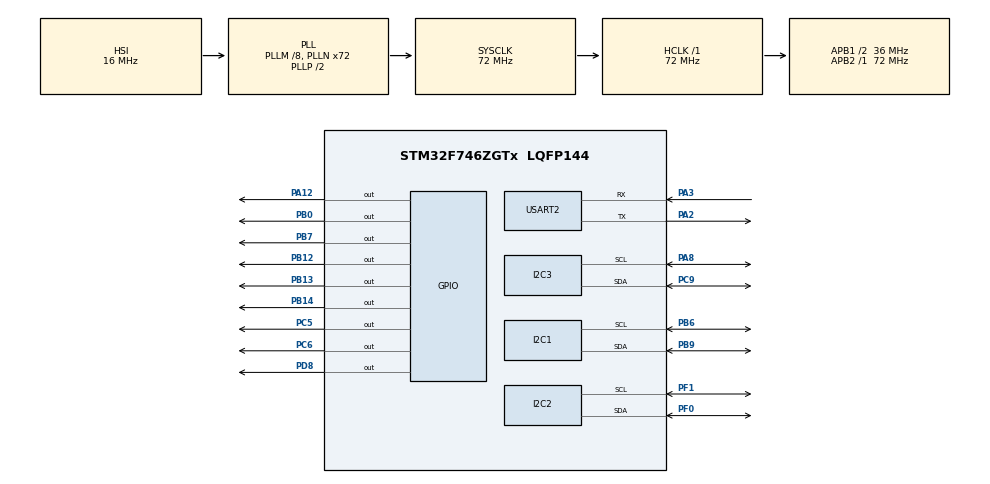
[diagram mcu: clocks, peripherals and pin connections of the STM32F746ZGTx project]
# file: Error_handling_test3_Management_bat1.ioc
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I2C1.Timing=0x00808CD2
I2C2.Timing=0x00808CD2
I2C3.Timing=0x00808CD2
Mcu.Family=STM32F7
Mcu.Name=STM32F746ZGTx
Mcu.Package=LQFP144
NVIC.I2C1_EV_IRQn=true\:2\:0\:true\:false\:true\:true\:true
NVIC.I2C2_EV_IRQn=true\:2\:0\:true\:false\:true\:true\:true
NVIC.I2C3_EV_IRQn=true\:2\:0\:true\:false\:true\:true\:true
NVIC.PriorityGroup=NVIC_PRIORITYGROUP_4
NVIC.TIM2_IRQn=true\:2\:0\:true\:false\:true\:true\:true
NVIC.TIM3_IRQn=true\:1\:0\:true\:false\:true\:true\:true
NVIC.USART2_IRQn=true\:0\:0\:false\:false\:true\:true\:true
PA12.Signal=GPIO_Output
PA13.Mode=Serial_Wire
PA13.Signal=SYS_JTMS-SWDIO
PA14.Mode=Serial_Wire
PA14.Signal=SYS_JTCK-SWCLK
PA2.Mode=Asynchronous
PA2.Signal=USART2_TX
PA3.Mode=Asynchronous
PA3.Signal=USART2_RX
PA8.Mode=I2C
PA8.Signal=I2C3_SCL
PB0.Signal=GPIO_Output
PB12.Signal=GPIO_Output
PB13.Signal=GPIO_Output
PB14.Signal=GPIO_Output
PB6.GPIO_Pu=GPIO_PULLUP
PB6.Mode=I2C
PB6.Signal=I2C1_SCL
PB7.Signal=GPIO_Output
PB9.GPIO_Pu=GPIO_PULLUP
PB9.Mode=I2C
PB9.Signal=I2C1_SDA
PC5.Signal=GPIO_Output
PC6.Signal=GPIO_Output
PC9.Mode=I2C
PC9.Signal=I2C3_SDA
PD8.Signal=GPIO_Output
PF0.Mode=I2C
PF0.Signal=I2C2_SDA
PF1.Mode=I2C
PF1.Signal=I2C2_SCL
ProjectManager.HeapSize=0x200
ProjectManager.StackSize=0x400
ProjectManager.TargetToolchain=STM32CubeIDE
RCC.48MHZClocksFreq_Value=24000000
RCC.AHBFreq_Value=72000000
RCC.APB1CLKDivider=RCC_HCLK_DIV2
RCC.APB1Freq_Value=36000000
RCC.APB1TimFreq_Value=72000000
RCC.APB2Freq_Value=72000000
RCC.APB2TimFreq_Value=72000000
RCC.CortexFreq_Value=72000000
RCC.HCLKFreq_Value=72000000
RCC.HSE_VALUE=8000000
RCC.HSI_VALUE=16000000
RCC.LSE_VALUE=32768
RCC.PLLM=8
RCC.PLLMUL=RCC_PLL_MUL9
RCC.PLLN=72
RCC.PLLQ=3
RCC.PRESCALERUSB=RCC_USBCLKSOURCE_PLL_DIV1_5
RCC.SYSCLKFreq_VALUE=72000000
RCC.SYSCLKSource=RCC_SYSCLKSOURCE_PLLCLK
RCC.SYSCLKSourceVirtual=RCC_SYSCLKSOURCE_PLLCLK
RCC.USBFreq_Value=48000000
RCC.VCOOutputFreq_Value=144000000
TIM2.Period=1000-1
TIM2.Prescaler=7200-1
TIM3.Period=100-1
TIM3.Prescaler=7200-1
TIM4.Prescaler=72-1
USART2.VirtualMode-Asynchronous=VM_ASYNC
VP_TIM2_VS_ClockSourceINT.Mode=Internal
VP_TIM3_VS_ClockSourceINT.Mode=Internal
VP_TIM4_VS_ClockSourceINT.Mode=Internal
board=NUCLEO-F746ZG

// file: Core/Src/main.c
/* USER CODE BEGIN Header */
/**
 ******************************************************************************
 * @file           : main.c
 * @brief          : Main program body
 ******************************************************************************
 * @attention
 *
 * <h2><center>&copy; Copyright (c) 2021 STMicroelectronics.
 * All rights reserved.</center></h2>
 *
 * This software component is licensed by ST under BSD 3-Clause license,
 * the "License"; You may not use this file except in compliance with the
 * License. You may obtain a copy of the License at:
 *                        opensource.org/licenses/BSD-3-Clause
 *
 ******************************************************************************
 */
/* USER CODE END Header */
#include "main.h"

/* USER CODE BEGIN Includes */
#include "stdbool.h"
#include "stdio.h"
#include "timer_delay.h"
#include "bat1_asoc.h"
#include "Handle_Gpio_pins.h"
#include "Timer_function.h"
#include"Specific_parameters_main_BAT1.h"
#include "Battery1_Maintenance_General_Info.h"
#include "Battery1_Maintenance_Specific_Info.h"
#include "Bat1_Update_Info_during_Maintenance.h"
#include <string.h>
#include "Bat1_Maint_SPCI_RTE.h"
#include "SubStatemachine_bat1_Maintenance.h"
#include "Commands_from_Raspi_To_STM32.h"
#include <Results_Auto_Test_Bat1_Maintenance.h>

#include "bat2_asoc.h"
#include "Battery2_Maintenance_General_Info.h"
#include"Specific_parameters_main_BAT2.h"
#include <Results_Auto_Test_Bat2_Maintenance.h>
#include "Bat2_Update_Info_during_Maintenance.h"
#include "SubStatemachine_bat2_Maintenance.h"

#include "bat3_asoc.h"
#include "Battery3_Maintenance_General_Info.h"
#include"Specific_parameters_main_BAT3.h"
#include <Results_Auto_Test_Bat3_Maintenance.h>
#include "Bat3_Update_Info_during_Maintenance.h"
#include "SubStatemachine_bat3_Maintenance.h"

#include "Battery1_Management_General_Info.h"
#include "Specific_parameters_management_BAT1.h"
#include "Bat1_Management_Keep_Bat_Alive_cycle.h"
#include "Battery1_Management_Shipment_cyc_Test_Cycle.h"
#include "Battery1_Management_Shipment_cyc_Discharge_to_30_percent.h"
#include "Specific_parameters_management_BAT1_ShipmentTest.h"
#include "Results_Auto_Test_Bat1_Management_Shipment_Test_Cycle.h"
#include "Bat1_Update_Info_during_Management.h"
#include "SubStatemachine_bat1_Management.h"

#include "Battery2_Management_General_Info.h"
#include "Specific_parameters_management_BAT2_ShipmentTest.h"
#include "Specific_parameters_management_BAT2.h"
#include "Results_Auto_Test_Bat2_Management_Shipment_Test_Cycle.h"
#include "Bat2_Update_Info_during_Management.h"
#include "Bat2_Management_Keep_Bat_Alive_cycle.h"
#include "Battery2_Management_Shipment_cyc_Discharge_to_30_percent.h"
#include "Battery2_Management_Shipment_cyc_Test_Cycle.h"
#include "SubStatemachine_bat2_Management.h"

#include "Battery3_Management_General_Info.h"
#include "Specific_parameters_management_BAT3.h"
#include "Specific_parameters_management_BAT3_ShipmentTest.h"
#include "Results_Auto_Test_Bat3_Management_Shipment_Test_Cycle.h"
#include "Bat3_Update_Info_during_Management.h"
#include "Bat3_Management_Keep_Bat_Alive_cycle.h"
#include "SubStatemachine_bat3_Management.h"
#include "Battery3_Management_Shipment_cyc_Test_Cycle.h"
#include "Battery3_Management_Shipment_cyc_Discharge_to_30_percent.h"

/* USER CODE END Includes */

I2C_HandleTypeDef hi2c1;
I2C_HandleTypeDef hi2c2;
I2C_HandleTypeDef hi2c3;

TIM_HandleTypeDef htim2;
TIM_HandleTypeDef htim3;
TIM_HandleTypeDef htim4;

UART_HandleTypeDef huart2;

/* USER CODE BEGIN PV */

/////////////////////// Maintenance cycle BAT 1 definitions////////////////////////////////////////////

bool _bat1timerfunc = false;		     // Flag to start and stop the 15 min wait function
bool _bat1_15min_wait_over = false;  		// To indicate 15 min delay is over
uint16_t _bat1_counter_var = 0;				//   Variable as a counter
//int8_t bat1_state=0;  						// Indicates the current state in Maintenance cycle
uint8_t BAT1_MAINT_STATE=0;

uint16_t BAT_1_ASOC_MAINTENANCE;
uint16_t BAT1_VOLTAGE_MAINTENANCE;

bool bat1charge = false;				// Flag to start and stop charging of the battery
bool bat1discharge = false;				// Flag to start and stop discharging of the battery

bool state1guard = false;
bool state2guard = false;
bool state3guard = false;
bool state4guard = false;
bool state5guard = false;
bool state6guard = false;
bool state7guard = false;
bool state8guard = false;

bool Autotestflag = false;				// Flag to start automatic testing of the maintenance cycle

uint8_t rx_buffer[14];					// Receives command from Pi

bool BAT_1_MAINTENANCE_FLAG = false;  				// Flag for battery 1 to enter the maintenance process
bool BAT_1_MAINTENANCE_ENTERED_GUARD_FLAG = false;

bool BAT_1_MAINT_GENERAL_INFO_FLAG = false;
bool BAT_1_MAINT_GENERAL_INFO_GUARD_FLAG = false;    // Flag to display General Info only once

bool Bat_1_MAINT_SPECIFIC_PARA_GUARD_FLAG = false;   // Flag to compare specific Info only once

uint8_t Bat1_Current_Mode_in_Maint = 0;      // 0 - Bat 1 is in running mode
// 1 - Bat 1 is in pause mode
// 2- Bat1 is in stop mode

// Flags to update the general information of battery 1 in Maintenance Use Case

uint16_t bat1_geninfo_cycle_counter = 0;
uint16_t bat1_geninfo_asoc_counter = 0;
uint16_t bat1_geninfo_remainingcapacity_counter = 0;
uint16_t bat1_geninfo_voltage_counter = 0;
uint16_t bat1_geninfo_temperature_counter = 0;
uint16_t bat1_geninfo_batterystatus_counter = 0;
uint16_t bat1_geninfo_current_counter=0;

bool bat1_geninfo_cycle_flag = false;
bool bat1_geninfo_asoc_flag = false;
bool bat1_geninfo_remainingcapacity_flag = false;
bool bat1_geninfo_voltage_flag = false;
bool bat1_geninfo_temperature_flag = false;
bool bat1_geninfo_batterystatus_flag = false;
bool bat1_geninfo_current_flag=false;

bool bat1_specific_info_rte_flag=true;

bool connect_flag=true;
bool update_maintenance_info_flag=false;

uint8_t tx_init[14];

// Flags to update the general information of battery in Maintenance Use Case

////////////////////////////////// Maintenance cycle BAT 1 definitions - End//////////////////////////////////////

/////////////////////// Maintenance cycle BAT 2 definitions - Start////////////////////////////////////////////

bool _bat2timerfunc = false;		     // Flag to start and stop the 15 min wait function
bool _bat2_15min_wait_over = false;  		// To indicate 15 min delay is over
uint16_t _bat2_counter_var = 0;				//   Variable as a counter
//int8_t bat2_state=0;  						// Indicates the current state in Maintenance cycle
//int8_t *BAT2_MAINT_STATE;
uint8_t BAT2_MAINT_STATE=0;

uint16_t BAT_2_ASOC_MAINTENANCE;
uint16_t BAT2_VOLTAGE_MAINTENANCE;

bool bat2charge = false;				// Flag to start and stop charging of the battery
bool bat2discharge = false;				// Flag to start and stop discharging of the battery

bool bat2_maint_state1guard = false;
bool bat2_maint_state2guard = false;
bool bat2_maint_state3guard = false;
bool bat2_maint_state4guard = false;
bool bat2_maint_state5guard = false;
bool bat2_maint_state6guard = false;
bool bat2_maint_state7guard = false;
bool bat2_maint_state8guard = false;

bool Bat2_Maint_Autotestflag = false;

bool BAT_2_MAINTENANCE_FLAG = false;  				// Flag for battery 1 to enter the maintenance process
bool BAT_2_MAINTENANCE_ENTERED_GUARD_FLAG = false;

bool BAT_2_MAINT_GENERAL_INFO_FLAG = false;
bool BAT_2_MAINT_GENERAL_INFO_GUARD_FLAG = false;    // Flag to display General Info only once

bool Bat_2_MAINT_SPECIFIC_PARA_GUARD_FLAG = false;   // Flag to compare specific Info only once

uint16_t bat2_geninfo_cycle_counter = 0;
uint16_t bat2_geninfo_asoc_counter = 0;
uint16_t bat2_geninfo_remainingcapacity_counter = 0;
uint16_t bat2_geninfo_voltage_counter = 0;
uint16_t bat2_geninfo_temperature_counter = 0;
uint16_t bat2_geninfo_batterystatus_counter = 0;
uint16_t bat2_geninfo_current_counter=0;

bool bat2_geninfo_cycle_flag = false;
bool bat2_geninfo_asoc_flag = false;
bool bat2_geninfo_remainingcapacity_flag = false;
bool bat2_geninfo_voltage_flag = false;
bool bat2_geninfo_temperature_flag = false;
bool bat2_geninfo_batterystatus_flag = false;
bool bat2_geninfo_current_flag=false;

bool bat2_specific_info_rte_flag=true;

bool bat2_update_maintenance_info_flag=false;

/////////////////////// Maintenance cycle BAT 2 definitions - END////////////////////////////////////////////

/////////////////////// Maintenance cycle BAT 3 definitions - Start////////////////////////////////////////////

bool _bat3timerfunc = false;		     // Flag to start and stop the 15 min wait function
bool _bat3_15min_wait_over = false;  		// To indicate 15 min delay is over
uint16_t _bat3_counter_var = 0;				//   Variable as a counter
//int8_t bat3_state=0;  						// Indicates the current state in Maintenance cycle
//int8_t *BAT3_MAINT_STATE;
uint8_t BAT3_MAINT_STATE=0;

uint16_t BAT_3_ASOC_MAINTENANCE;
uint16_t BAT3_VOLTAGE_MAINTENANCE;

bool bat3charge = false;				// Flag to start and stop charging of the battery
bool bat3discharge = false;				// Flag to start and stop discharging of the battery

bool bat3_maint_state1guard = false;
bool bat3_maint_state2guard = false;
bool bat3_maint_state3guard = false;
bool bat3_maint_state4guard = false;
bool bat3_maint_state5guard = false;
bool bat3_maint_state6guard = false;
bool bat3_maint_state7guard = false;
bool bat3_maint_state8guard = false;

bool Bat3_Maint_Autotestflag = false;

bool BAT_3_MAINTENANCE_FLAG = false;  				// Flag for battery 3 to enter the maintenance process
bool BAT_3_MAINTENANCE_ENTERED_GUARD_FLAG = false;

bool BAT_3_MAINT_GENERAL_INFO_FLAG = false;
bool BAT_3_MAINT_GENERAL_INFO_GUARD_FLAG = false;    // Flag to display General Info only once

bool Bat_3_MAINT_SPECIFIC_PARA_GUARD_FLAG = false;   // Flag to compare specific Info only once

uint16_t bat3_geninfo_cycle_counter = 0;
uint16_t bat3_geninfo_asoc_counter = 0;
uint16_t bat3_geninfo_remainingcapacity_counter = 0;
uint16_t bat3_geninfo_voltage_counter = 0;
uint16_t bat3_geninfo_temperature_counter = 0;
uint16_t bat3_geninfo_batterystatus_counter = 0;
uint16_t bat3_geninfo_current_counter=0;

bool bat3_geninfo_cycle_flag = false;
bool bat3_geninfo_asoc_flag = false;
bool bat3_geninfo_remainingcapacity_flag = false;
bool bat3_geninfo_voltage_flag = false;
bool bat3_geninfo_temperature_flag = false;
bool bat3_geninfo_batterystatus_flag = false;
bool bat3_geninfo_current_flag=false;

bool bat3_specific_info_rte_flag=true;

bool bat3_update_maintenance_info_flag=false;

bool say=true;

/////////////////////// Maintenance cycle BAT 3 definitions - End////////////////////////////////////////////

/////////////////////// Management cycle BAT 1 definitions - Start////////////////////////////////////////////

bool BAT_1_MANAGEMENT_FLAG = false;  // Flag to enter Bat 1 in Management Use Case

bool BAT_1_MANAGEMENT_ENTERED_GUARD_FLAG = false; // Flag to send instruction only once to Pi that Bat 1
												  // has entered Management Use Case

bool BAT_1_MANAGEMENT_GENERAL_INFO_FLAG = false; // Flag to display Bat 1 Management use case general Info

bool BAT_1_MANAGEMENT_GENERAL_INFO_GUARD_FLAG = false;    // Flag to display General Info only once - Management use case

bool Bat_1_MANAGEMENT_SPECIFIC_PARA_GUARD_FLAG = false;   // Flag to compare specific Info only once - Management use case

bool BAT_1_MANAGEMENT_KEEP_BATTERY_ALIVE_CYCLE_FLAG = false; // Flag to start Keep Battery Alive cycle - Management use case

bool BAT_1_MANAGEMENT_KEEP_BATTERY_ALIVE_CYCLE_GUARD_FLAG = false; // Flag to Enable Charge/ Discharge of Battery in Keep Battery Alive cycle once

uint16_t BAT_1_ASOC_MANAGEMENT_during_Keep_Bat_Alive_cycle; // Read ASOC during "Keep Battery Alive" cycle - Management Use Case

// Bat 1 Management use case variables during shipment test cycle
uint16_t BAT_1_ASOC_MANAGEMENT_during_Shipment_Test_Cycle;  // Read ASOC during shipment autotest cycle - Management Use Case

bool BAT1_MANAGEMENT_SHIPMENT_CYCLE_FLAG = false; // Flag to enter the shipment cycle - Management Use case Bat 1

bool Bat1_Management_Shipment_testycycle_Autotestflag = false; // Flag to start Bat1 shipment test cycle - Management Use Case

bool Bat1_Management_Shipment_chg_dischg_to_30_percent_flag = false; // Flag to start Bat 1 Charge/Discharge to 30 % cycle - Shipment - Management Use Case

bool Bat1_Management_Shipment_chg_dischg_to_30_percent_guard_flag = false; // Flag to Toggle the Charge / Discharge pin only once during 30 % cycle in Shipment - Management Use Case

bool Bat1_Manag_SpecificPara_during_Shipment_test_cycle_guard_flag = false;

uint8_t BAT1_MANAGEMENT_SHIPMENT_TEST_CYCLE_STATE=0; // Bat 1 state during Shipment Test cycle - Management Use Case

uint16_t BAT_1_ASOC_MANAGEMENT_during__SHIPMENT_TEST_CHARGE_DISCHARGE_30; // Read Bat 1 ASOC during Management use case - Shipment charge/ discharge to 30 % cycle

bool bat1_management_shipment_testcycle_state1guard = false;
bool bat1_management_shipment_testcycle_state2guard = false;
bool bat1_management_shipment_testcycle_state3guard = false;
bool bat1_management_shipment_testcycle_state4guard = false;
bool bat1_management_shipment_testcycle_state5guard = false;
bool bat1_management_shipment_testcycle_state6guard = false;
bool bat1_management_shipment_testcycle_state7guard = false;
bool bat1_management_shipment_testcycle_state8guard = false;

/////////////////////// Management cycle BAT 1 definitions - End////////////////////////////////////////////

/////////////////////// Management cycle BAT 2 definitions - Start////////////////////////////////////////////

bool BAT_2_MANAGEMENT_FLAG = false;  // Flag to enter Bat 2 in Management Use Case

bool BAT_2_MANAGEMENT_ENTERED_GUARD_FLAG = false; // Flag to send instruction only once to Pi that Bat 2
												  // has entered Management Use Case

bool BAT_2_MANAGEMENT_GENERAL_INFO_FLAG = false; // Flag to display Bat 2 Management use case general Info

bool BAT_2_MANAGEMENT_GENERAL_INFO_GUARD_FLAG = false;    // Flag to display General Info only once - Management use case

bool Bat_2_MANAGEMENT_SPECIFIC_PARA_GUARD_FLAG = false;   // Flag to compare specific Info only once - Management use case

bool BAT_2_MANAGEMENT_KEEP_BATTERY_ALIVE_CYCLE_FLAG = false; // Flag to start Keep Battery Alive cycle - Management use case

bool BAT_2_MANAGEMENT_KEEP_BATTERY_ALIVE_CYCLE_GUARD_FLAG = false; // Flag to Enable Charge/ Discharge of Battery in Keep Battery Alive cycle once

uint16_t BAT_2_ASOC_MANAGEMENT_during_Keep_Bat_Alive_cycle; // Read ASOC during "Keep Battery Alive" cycle - Management Use Case

// Bat 2 Management use case variables during shipment test cycle
uint16_t BAT_2_ASOC_MANAGEMENT_during_Shipment_Test_Cycle;  // Read Bat 2 ASOC during shipment autotest cycle - Management Use Case

bool BAT2_MANAGEMENT_SHIPMENT_CYCLE_FLAG = false; // Flag to enter the shipment cycle - Management Use case Bat 2

bool Bat2_Management_Shipment_testycycle_Autotestflag = false; // Flag to start Bat2 shipment test cycle - Management Use Case

bool Bat2_Management_Shipment_chg_dischg_to_30_percent_flag = false; // Flag to start Bat 2 Charge/Discharge to 30 % cycle - Shipment - Management Use Case

bool Bat2_Management_Shipment_chg_dischg_to_30_percent_guard_flag = false; // Flag to Toggle the Charge / Discharge pin only once during 30 % cycle in Shipment - Management Use Case

bool Bat2_Manag_SpecificPara_during_Shipment_test_cycle_guard_flag = false;

uint8_t BAT2_MANAGEMENT_SHIPMENT_TEST_CYCLE_STATE=0; // Bat 2 state during Shipment Test cycle - Management Use Case

uint16_t BAT_2_ASOC_MANAGEMENT_during__SHIPMENT_TEST_CHARGE_DISCHARGE_30; // Read Bat 2 ASOC during Management use case - Shipment charge/ discharge to 30 % cycle

bool bat2_management_shipment_testcycle_state1guard = false;
bool bat2_management_shipment_testcycle_state2guard = false;
bool bat2_management_shipment_testcycle_state3guard = false;
bool bat2_management_shipment_testcycle_state4guard = false;
bool bat2_management_shipment_testcycle_state5guard = false;
bool bat2_management_shipment_testcycle_state6guard = false;
bool bat2_management_shipment_testcycle_state7guard = false;
bool bat2_management_shipment_testcycle_state8guard = false;

/////////////////////// Management cycle BAT 2 definitions - End////////////////////////////////////////////

/////////////////////// Management cycle BAT 3 definitions - Start////////////////////////////////////////////

bool BAT_3_MANAGEMENT_FLAG = false;  // Flag to enter Bat 3 in Management Use Case

bool BAT_3_MANAGEMENT_ENTERED_GUARD_FLAG = false; // Flag to send instruction only once to Pi that Bat 3
												  // has entered Management Use Case

bool BAT_3_MANAGEMENT_GENERAL_INFO_FLAG = false; // Flag to display Bat 3 Management use case general Info

bool BAT_3_MANAGEMENT_GENERAL_INFO_GUARD_FLAG = false;    // Flag to display General Info only once - Management use case

bool Bat_3_MANAGEMENT_SPECIFIC_PARA_GUARD_FLAG = false;   // Flag to compare specific Info only once - Management use case

bool BAT_3_MANAGEMENT_KEEP_BATTERY_ALIVE_CYCLE_FLAG = false; // Flag to start Keep Battery Alive cycle - Management use case

bool BAT_3_MANAGEMENT_KEEP_BATTERY_ALIVE_CYCLE_GUARD_FLAG = false; // Flag to Enable Charge/ Discharge of Battery in Keep Battery Alive cycle once

uint16_t BAT_3_ASOC_MANAGEMENT_during_Keep_Bat_Alive_cycle; // Read ASOC during "Keep Battery Alive" cycle - Management Use Case

// Bat 3 Management use case variables during shipment test cycle
uint16_t BAT_3_ASOC_MANAGEMENT_during_Shipment_Test_Cycle;  // Read Bat 3 ASOC during shipment autotest cycle - Management Use Case

bool BAT3_MANAGEMENT_SHIPMENT_CYCLE_FLAG = false; // Flag to enter the shipment cycle - Management Use case Bat 2

bool Bat3_Management_Shipment_testycycle_Autotestflag = false; // Flag to start Bat3 shipment test cycle - Management Use Case

bool Bat3_Management_Shipment_chg_dischg_to_30_percent_flag = false; // Flag to start Bat 3 Charge/Discharge to 30 % cycle - Shipment - Management Use Case

bool Bat3_Management_Shipment_chg_dischg_to_30_percent_guard_flag = false; // Flag to Toggle the Charge / Discharge pin only once during 30 % cycle in Shipment - Management Use Case

bool Bat3_Manag_SpecificPara_during_Shipment_test_cycle_guard_flag = false;

uint8_t BAT3_MANAGEMENT_SHIPMENT_TEST_CYCLE_STATE=0; // Bat 3 state during Shipment Test cycle - Management Use Case

uint16_t BAT_3_ASOC_MANAGEMENT_during__SHIPMENT_TEST_CHARGE_DISCHARGE_30; // Read Bat 3 ASOC during Management use case - Shipment charge/ discharge to 30 % cycle

bool bat3_management_shipment_testcycle_state1guard = false;
bool bat3_management_shipment_testcycle_state2guard = false;
bool bat3_management_shipment_testcycle_state3guard = false;
bool bat3_management_shipment_testcycle_state4guard = false;
bool bat3_management_shipment_testcycle_state5guard = false;
bool bat3_management_shipment_testcycle_state6guard = false;
bool bat3_management_shipment_testcycle_state7guard = false;
bool bat3_management_shipment_testcycle_state8guard = false;

/////////////////////// Management cycle BAT 3 definitions - End////////////////////////////////////////////

/* USER CODE END PV */

void SystemClock_Config(void);
static void MX_GPIO_Init(void);
static void MX_I2C1_Init(void);
static void MX_TIM3_Init(void);
static void MX_TIM4_Init(void);
static void MX_USART2_UART_Init(void);
static void MX_TIM2_Init(void);
static void MX_I2C2_Init(void);
static void MX_I2C3_Init(void);

/* USER CODE BEGIN 0 */
int _write(int file, char *ptr, int len)
{
	/* Implement your write code here, this is used by puts and printf for example */
	int i=0;
	for(i=0 ; i<len ; i++)
		ITM_SendChar((*ptr++));
	return len;
}
/* USER CODE END 0 */

int main(void)
{

  /* MCU Configuration--------------------------------------------------------*/

  /* Reset of all peripherals, Initializes the Flash interface and the Systick. */
  HAL_Init();

  /* Configure the system clock */
  SystemClock_Config();

  /* Initialize all configured peripherals */
  MX_GPIO_Init();
  MX_I2C1_Init();
  MX_TIM3_Init();
  MX_TIM4_Init();
  MX_USART2_UART_Init();
  MX_TIM2_Init();
  MX_I2C2_Init();
  MX_I2C3_Init();
  /* USER CODE BEGIN 2 */
	HAL_TIM_Base_Start(&htim4);        // Timer 4 for providing delay
	HAL_TIM_Base_Start_IT(&htim3);	   // Timer 3 for waiting purpose in the maintenance case
	HAL_TIM_Base_Start_IT(&htim2);	   // Timer 2 to update the maintenance use case parameters periodically

	if(HAL_I2C_IsDeviceReady(&hi2c1,0x16, 5, 10)==HAL_OK)   // BAT 1
	{

		HAL_GPIO_WritePin(GPIOB, GPIO_PIN_7, GPIO_PIN_SET);

	}

	if(HAL_I2C_IsDeviceReady(&hi2c2,0x16, 5, 10)==HAL_OK)   // BAT 2
	{

		HAL_GPIO_WritePin(GPIOB, GPIO_PIN_14, GPIO_PIN_SET);

	}

	if(HAL_I2C_IsDeviceReady(&hi2c3,0x16, 5, 10)==HAL_OK)  // BAT 3
	{

		HAL_GPIO_WritePin(GPIOB, GPIO_PIN_0, GPIO_PIN_SET);

	}

	//printf("Started \n");

	__HAL_UART_ENABLE_IT(&huart2,UART_IT_RXNE);

//	BAT1_MAINT_STATE = &bat1_state;
//	BAT2_MAINT_STATE = &bat2_state;
//	BAT3_MAINT_STATE = &bat3_state;

//	__NVIC_SystemReset();

//	uint8_t uo=3;

//	int nn=uo/0;

//	int x = sizeof(uo);

//	Transmit_Bat2_Maintenance_General_Info_to_Raspi();
//	Read_and_Compare_Specific_para_Bat2_STM_to_Pi();
//	Read_bat3_maint_Run_time_to_empty_start_of_discharge();
//	Read_bat3_maint_Run_time_to_empty_end_of_discharge();
//	Read_Bat3_Maint_autotest_result_first_80_percent();
//	Read_Bat3_Maint_autotest_result_middle_10_percent();
//	Read_Bat3_Maint_autotest_result_last_80_percent();

//Transmit_Bat3_Maintenance_General_Info_to_Raspi();
//Read_and_Compare_Specific_para_Bat3_STM_to_Pi();
//Read_bat3_maint_Run_time_to_empty_start_of_discharge();
//Read_bat3_maint_Run_time_to_empty_end_of_discharge();
//Read_Bat1_Maint_autotest_result_first_80_percent();
//Read_Bat1_Maint_autotest_result_middle_10_percent();
//Read_Bat1_Maint_autotest_result_last_80_percent();
//Transmit_Bat3_Maintenance_General_Info_to_Raspi();

//	Transmit_Bat1_Maintenance_General_Info_to_Raspi();

//	Read_and_Compare_Specific_para_Bat1_STM_to_Pi();

//	BAT_1_MANAGEMENT_KEEP_BATTERY_ALIVE_CYCLE_FLAG = true;
//	bat2charge = true;
//	gpio_func();
//	gpio_func_bat2_chg_dschg();

//	Bat1_Management_Shipment_testycycle_Autotestflag = true;
//	BAT1_MANAGEMENT_SHIPMENT_CYCLE_FLAG = true;
	//Bat1_Management_Shipment_chg_dischg_to_30_percent_flag = true;

//	Read_Bat1_Management_Shipment_autotest_result_first_80_percent();
//	Read_Bat1_Management_Shipment_autotest_result_middle_10_percent();
//	Read_Bat1_Management_Shipment_autotest_result_last_80_percent();

//	Transmit_Bat1_Management_General_Info_to_Raspi();
//	Read_and_Compare_Specific_para_Bat1_Management_Shipment_Test_STM_to_Pi();
//	Read_Bat1_Management_Shipment_autotest_result_first_80_percent();
//	Read_Bat1_Management_Shipment_autotest_result_middle_10_percent();
//	Read_Bat1_Management_Shipment_autotest_result_last_80_percent();
////
//	Read_bat1_management_Run_time_to_empty_Shipment_Test_Cycle_start_of_discharge();
//	Read_bat1_management_Run_time_to_empty_Shipment_Test_Cycle_end_of_discharge();

//	Transmit_Bat1_Management_General_Info_to_Raspi();
//	Transmit_Bat2_Management_General_Info_to_Raspi();

	//Read_and_Compare_Specific_para_Bat1_Management_Shipment_Test_STM_to_Pi();
	//Read_and_Compare_Specific_para_Bat2_Management_Shipment_Test_STM_to_Pi();

//		Read_bat2_management_Run_time_to_empty_Shipment_Test_Cycle_start_of_discharge();
//		Read_bat2_management_Run_time_to_empty_Shipment_Test_Cycle_end_of_discharge();

//		BAT_2_MANAGEMENT_FLAG = true;
//		BAT2_MANAGEMENT_SHIPMENT_CYCLE_FLAG = true;
//		Bat2_Management_Shipment_testycycle_Autotestflag=true;
//		Bat2_Management_Shipment_chg_dischg_to_30_percent_flag = true;
//	BAT_2_MANAGEMENT_KEEP_BATTERY_ALIVE_CYCLE_FLAG=true;

//		Transmit_Bat3_Management_General_Info_to_Raspi();
//		Send_Bat3_Management_Specific_Info_To_Pi();
//		 Read_and_Compare_Specific_para_Bat3_Management_Shipment_Test_STM_to_Pi();
//
////
//		 Read_bat3_management_Run_time_to_empty_Shipment_Test_Cycle_start_of_discharge();
//		 Read_bat3_management_Run_time_to_empty_Shipment_Test_Cycle_end_of_discharge();

//			Read_Bat3_Management_Shipment_autotest_result_first_80_percent();
//			Read_Bat3_Management_Shipment_autotest_result_middle_10_percent();
//			Read_Bat3_Management_Shipment_autotest_result_last_80_percent();

  /* USER CODE END 2 */

  /* Infinite loop */
  /* USER CODE BEGIN WHILE */
	while (1)
	{
//		connect_to_Pi();
//		Bat2_Management_Shipment_Cycle_Charge_Discharge_to_30();
//		Bat2_Management_Keep_Battery_Alive_Cycle();
//		substatemachine_battery1_management();

//		Bat1_Management_Keep_Battery_Alive_Cycle();
//		substatemachine_battery1_maintenance(); // This function Works
//		substatemachine_battery2_maintenance(); // This function Works
//		substatemachine_battery3_maintenance();

	//	NVIC_SystemReset(); // Works

//		Battery1_Management_Use_Case_Shipment_Test_Cycle();
//
//		Bat1_Management_Shipment_Cycle_Charge_Discharge_to_30();
//
//		Bat1_Management_Keep_Battery_Alive_Cycle();
//		 update_voltage_during_management_bat1();
//		 update_asoc_during_management_bat1();
//		 update_RemCap_during_management_bat1();
//		 update_cyclecount_during_management_bat1();
//		 update_batstatus_during_management_bat1();
//		 update_temperature_during_management_bat1();

//		Send_Bat1_Management_Specific_Info_To_Pi();

//		 update_voltage_during_management_bat2();
//		 update_asoc_during_management_bat2();
//		 update_RemCap_during_management_bat2();
//		 update_cyclecount_during_management_bat2();
//		 update_batstatus_during_management_bat2();
//		 update_temperature_during_management_bat2();
//		 update_current_during_management_bat2();

//		Battery2_Management_Use_Case_Shipment_Test_Cycle();
//		substatemachine_battery2_management();

//		 update_voltage_during_management_bat3();
//		 update_asoc_during_management_bat3();
//		 update_RemCap_during_management_bat3();
//		 update_cyclecount_during_management_bat3();
//		 update_batstatus_during_management_bat3();
//		 update_temperature_during_management_bat3();
//		 update_current_during_management_bat3();
//		substatemachine_battery1_management();
//		substatemachine_battery2_management();
//		substatemachine_battery3_management();
		update_current_during_management_bat1();
		update_current_during_management_bat2();
		update_current_during_management_bat3();

//		update_current_during_maintenance_bat1();
//		update_current_during_maintenance_bat2();
//		update_current_during_maintenance_bat3();

	}
}

    /* USER CODE END WHILE */

void SystemClock_Config(void)
{
  RCC_OscInitTypeDef RCC_OscInitStruct = {0};
  RCC_ClkInitTypeDef RCC_ClkInitStruct = {0};
  RCC_PeriphCLKInitTypeDef PeriphClkInitStruct = {0};

  /** Configure the main internal regulator output voltage
  */
  __HAL_RCC_PWR_CLK_ENABLE();
  __HAL_PWR_VOLTAGESCALING_CONFIG(PWR_REGULATOR_VOLTAGE_SCALE3);
  /** Initializes the RCC Oscillators according to the specified parameters
  * in the RCC_OscInitTypeDef structure.
  */
  RCC_OscInitStruct.OscillatorType = RCC_OSCILLATORTYPE_HSI;
  RCC_OscInitStruct.HSIState = RCC_HSI_ON;
  RCC_OscInitStruct.HSICalibrationValue = RCC_HSICALIBRATION_DEFAULT;
  RCC_OscInitStruct.PLL.PLLState = RCC_PLL_ON;
  RCC_OscInitStruct.PLL.PLLSource = RCC_PLLSOURCE_HSI;
  RCC_OscInitStruct.PLL.PLLM = 8;
  RCC_OscInitStruct.PLL.PLLN = 72;
  RCC_OscInitStruct.PLL.PLLP = RCC_PLLP_DIV2;
  RCC_OscInitStruct.PLL.PLLQ = 3;
  if (HAL_RCC_OscConfig(&RCC_OscInitStruct) != HAL_OK)
  {
    Error_Handler();
  }
  /** Initializes the CPU, AHB and APB buses clocks
  */
  RCC_ClkInitStruct.ClockType = RCC_CLOCKTYPE_HCLK|RCC_CLOCKTYPE_SYSCLK
                              |RCC_CLOCKTYPE_PCLK1|RCC_CLOCKTYPE_PCLK2;
  RCC_ClkInitStruct.SYSCLKSource = RCC_SYSCLKSOURCE_PLLCLK;
  RCC_ClkInitStruct.AHBCLKDivider = RCC_SYSCLK_DIV1;
  RCC_ClkInitStruct.APB1CLKDivider = RCC_HCLK_DIV2;
  RCC_ClkInitStruct.APB2CLKDivider = RCC_HCLK_DIV1;

  if (HAL_RCC_ClockConfig(&RCC_ClkInitStruct, FLASH_LATENCY_2) != HAL_OK)
  {
    Error_Handler();
  }
  PeriphClkInitStruct.PeriphClockSelection = RCC_PERIPHCLK_USART2|RCC_PERIPHCLK_I2C1
                              |RCC_PERIPHCLK_I2C2|RCC_PERIPHCLK_I2C3;
  PeriphClkInitStruct.Usart2ClockSelection = RCC_USART2CLKSOURCE_PCLK1;
  PeriphClkInitStruct.I2c1ClockSelection = RCC_I2C1CLKSOURCE_PCLK1;
  PeriphClkInitStruct.I2c2ClockSelection = RCC_I2C2CLKSOURCE_PCLK1;
  PeriphClkInitStruct.I2c3ClockSelection = RCC_I2C3CLKSOURCE_PCLK1;
  if (HAL_RCCEx_PeriphCLKConfig(&PeriphClkInitStruct) != HAL_OK)
  {
    Error_Handler();
  }
}

static void MX_I2C1_Init(void)
{

  hi2c1.Instance = I2C1;
  hi2c1.Init.Timing = 0x00808CD2;
  hi2c1.Init.OwnAddress1 = 0;
  hi2c1.Init.AddressingMode = I2C_ADDRESSINGMODE_7BIT;
  hi2c1.Init.DualAddressMode = I2C_DUALADDRESS_DISABLE;
  hi2c1.Init.OwnAddress2 = 0;
  hi2c1.Init.OwnAddress2Masks = I2C_OA2_NOMASK;
  hi2c1.Init.GeneralCallMode = I2C_GENERALCALL_DISABLE;
  hi2c1.Init.NoStretchMode = I2C_NOSTRETCH_DISABLE;
  if (HAL_I2C_Init(&hi2c1) != HAL_OK)
  {
    Error_Handler();
  }
  /** Configure Analogue filter
  */
  if (HAL_I2CEx_ConfigAnalogFilter(&hi2c1, I2C_ANALOGFILTER_ENABLE) != HAL_OK)
  {
    Error_Handler();
  }
  /** Configure Digital filter
  */
  if (HAL_I2CEx_ConfigDigitalFilter(&hi2c1, 0) != HAL_OK)
  {
    Error_Handler();
  }

}

static void MX_I2C2_Init(void)
{

  hi2c2.Instance = I2C2;
  hi2c2.Init.Timing = 0x00808CD2;
  hi2c2.Init.OwnAddress1 = 0;
  hi2c2.Init.AddressingMode = I2C_ADDRESSINGMODE_7BIT;
  hi2c2.Init.DualAddressMode = I2C_DUALADDRESS_DISABLE;
  hi2c2.Init.OwnAddress2 = 0;
  hi2c2.Init.OwnAddress2Masks = I2C_OA2_NOMASK;
  hi2c2.Init.GeneralCallMode = I2C_GENERALCALL_DISABLE;
  hi2c2.Init.NoStretchMode = I2C_NOSTRETCH_DISABLE;
  if (HAL_I2C_Init(&hi2c2) != HAL_OK)
  {
    Error_Handler();
  }
  /** Configure Analogue filter
  */
  if (HAL_I2CEx_ConfigAnalogFilter(&hi2c2, I2C_ANALOGFILTER_ENABLE) != HAL_OK)
  {
    Error_Handler();
  }
  /** Configure Digital filter
  */
  if (HAL_I2CEx_ConfigDigitalFilter(&hi2c2, 0) != HAL_OK)
  {
    Error_Handler();
  }

}

static void MX_I2C3_Init(void)
{

  hi2c3.Instance = I2C3;
  hi2c3.Init.Timing = 0x00808CD2;
  hi2c3.Init.OwnAddress1 = 0;
  hi2c3.Init.AddressingMode = I2C_ADDRESSINGMODE_7BIT;
  hi2c3.Init.DualAddressMode = I2C_DUALADDRESS_DISABLE;
  hi2c3.Init.OwnAddress2 = 0;
  hi2c3.Init.OwnAddress2Masks = I2C_OA2_NOMASK;
  hi2c3.Init.GeneralCallMode = I2C_GENERALCALL_DISABLE;
  hi2c3.Init.NoStretchMode = I2C_NOSTRETCH_DISABLE;
  if (HAL_I2C_Init(&hi2c3) != HAL_OK)
  {
    Error_Handler();
  }
  /** Configure Analogue filter
  */
  if (HAL_I2CEx_ConfigAnalogFilter(&hi2c3, I2C_ANALOGFILTER_ENABLE) != HAL_OK)
  {
    Error_Handler();
  }
  /** Configure Digital filter
  */
  if (HAL_I2CEx_ConfigDigitalFilter(&hi2c3, 0) != HAL_OK)
  {
    Error_Handler();
  }

}

static void MX_TIM2_Init(void)
{

  TIM_ClockConfigTypeDef sClockSourceConfig = {0};
  TIM_MasterConfigTypeDef sMasterConfig = {0};

  htim2.Instance = TIM2;
  htim2.Init.Prescaler = 7200-1;
  htim2.Init.CounterMode = TIM_COUNTERMODE_UP;
  htim2.Init.Period = 1000-1;
  htim2.Init.ClockDivision = TIM_CLOCKDIVISION_DIV1;
  htim2.Init.AutoReloadPreload = TIM_AUTORELOAD_PRELOAD_DISABLE;
  if (HAL_TIM_Base_Init(&htim2) != HAL_OK)
  {
    Error_Handler();
  }
  sClockSourceConfig.ClockSource = TIM_CLOCKSOURCE_INTERNAL;
  if (HAL_TIM_ConfigClockSource(&htim2, &sClockSourceConfig) != HAL_OK)
  {
    Error_Handler();
  }
  sMasterConfig.MasterOutputTrigger = TIM_TRGO_RESET;
  sMasterConfig.MasterSlaveMode = TIM_MASTERSLAVEMODE_DISABLE;
  if (HAL_TIMEx_MasterConfigSynchronization(&htim2, &sMasterConfig) != HAL_OK)
  {
    Error_Handler();
  }

}

static void MX_TIM3_Init(void)
{

  TIM_ClockConfigTypeDef sClockSourceConfig = {0};
  TIM_MasterConfigTypeDef sMasterConfig = {0};

  htim3.Instance = TIM3;
  htim3.Init.Prescaler = 7200-1;
  htim3.Init.CounterMode = TIM_COUNTERMODE_UP;
  htim3.Init.Period = 100-1;
  htim3.Init.ClockDivision = TIM_CLOCKDIVISION_DIV1;
  htim3.Init.AutoReloadPreload = TIM_AUTORELOAD_PRELOAD_DISABLE;
  if (HAL_TIM_Base_Init(&htim3) != HAL_OK)
  {
    Error_Handler();
  }
  sClockSourceConfig.ClockSource = TIM_CLOCKSOURCE_INTERNAL;
  if (HAL_TIM_ConfigClockSource(&htim3, &sClockSourceConfig) != HAL_OK)
  {
    Error_Handler();
  }
  sMasterConfig.MasterOutputTrigger = TIM_TRGO_RESET;
  sMasterConfig.MasterSlaveMode = TIM_MASTERSLAVEMODE_DISABLE;
  if (HAL_TIMEx_MasterConfigSynchronization(&htim3, &sMasterConfig) != HAL_OK)
  {
    Error_Handler();
  }

}

static void MX_TIM4_Init(void)
{

  TIM_ClockConfigTypeDef sClockSourceConfig = {0};
  TIM_MasterConfigTypeDef sMasterConfig = {0};

  htim4.Instance = TIM4;
  htim4.Init.Prescaler = 72-1;
  htim4.Init.CounterMode = TIM_COUNTERMODE_UP;
  htim4.Init.Period = 65535;
  htim4.Init.ClockDivision = TIM_CLOCKDIVISION_DIV1;
  htim4.Init.AutoReloadPreload = TIM_AUTORELOAD_PRELOAD_DISABLE;
  if (HAL_TIM_Base_Init(&htim4) != HAL_OK)
  {
    Error_Handler();
  }
  sClockSourceConfig.ClockSource = TIM_CLOCKSOURCE_INTERNAL;
  if (HAL_TIM_ConfigClockSource(&htim4, &sClockSourceConfig) != HAL_OK)
  {
    Error_Handler();
  }
  sMasterConfig.MasterOutputTrigger = TIM_TRGO_RESET;
  sMasterConfig.MasterSlaveMode = TIM_MASTERSLAVEMODE_DISABLE;
  if (HAL_TIMEx_MasterConfigSynchronization(&htim4, &sMasterConfig) != HAL_OK)
  {
    Error_Handler();
  }

}

static void MX_USART2_UART_Init(void)
{

  huart2.Instance = USART2;
  huart2.Init.BaudRate = 115200;
  huart2.Init.WordLength = UART_WORDLENGTH_8B;
  huart2.Init.StopBits = UART_STOPBITS_1;
  huart2.Init.Parity = UART_PARITY_NONE;
  huart2.Init.Mode = UART_MODE_TX_RX;
  huart2.Init.HwFlowCtl = UART_HWCONTROL_NONE;
  huart2.Init.OverSampling = UART_OVERSAMPLING_16;
  huart2.Init.OneBitSampling = UART_ONE_BIT_SAMPLE_DISABLE;
  huart2.AdvancedInit.AdvFeatureInit = UART_ADVFEATURE_NO_INIT;
  if (HAL_UART_Init(&huart2) != HAL_OK)
  {
    Error_Handler();
  }

}

static void MX_GPIO_Init(void)
{
  GPIO_InitTypeDef GPIO_InitStruct = {0};

  /* GPIO Ports Clock Enable */
  __HAL_RCC_GPIOF_CLK_ENABLE();
  __HAL_RCC_GPIOA_CLK_ENABLE();
  __HAL_RCC_GPIOC_CLK_ENABLE();
  __HAL_RCC_GPIOB_CLK_ENABLE();
  __HAL_RCC_GPIOD_CLK_ENABLE();

  /*Configure GPIO pin Output Level */
  HAL_GPIO_WritePin(GPIOC, GPIO_PIN_5|GPIO_PIN_6, GPIO_PIN_RESET);

  /*Configure GPIO pin Output Level */
  HAL_GPIO_WritePin(GPIOB, GPIO_PIN_0|GPIO_PIN_12|GPIO_PIN_13|GPIO_PIN_14
                          |GPIO_PIN_7, GPIO_PIN_RESET);

  /*Configure GPIO pin Output Level */
  HAL_GPIO_WritePin(GPIOD, GPIO_PIN_8, GPIO_PIN_RESET);

  /*Configure GPIO pin Output Level */
  HAL_GPIO_WritePin(GPIOA, GPIO_PIN_12, GPIO_PIN_RESET);

  /*Configure GPIO pins : PC5 PC6 */
  GPIO_InitStruct.Pin = GPIO_PIN_5|GPIO_PIN_6;
  GPIO_InitStruct.Mode = GPIO_MODE_OUTPUT_PP;
  GPIO_InitStruct.Pull = GPIO_NOPULL;
  GPIO_InitStruct.Speed = GPIO_SPEED_FREQ_LOW;
  HAL_GPIO_Init(GPIOC, &GPIO_InitStruct);

  /*Configure GPIO pins : PB0 PB12 PB13 PB14
                           PB7 */
  GPIO_InitStruct.Pin = GPIO_PIN_0|GPIO_PIN_12|GPIO_PIN_13|GPIO_PIN_14
                          |GPIO_PIN_7;
  GPIO_InitStruct.Mode = GPIO_MODE_OUTPUT_PP;
  GPIO_InitStruct.Pull = GPIO_NOPULL;
  GPIO_InitStruct.Speed = GPIO_SPEED_FREQ_LOW;
  HAL_GPIO_Init(GPIOB, &GPIO_InitStruct);

  /*Configure GPIO pin : PD8 */
  GPIO_InitStruct.Pin = GPIO_PIN_8;
  GPIO_InitStruct.Mode = GPIO_MODE_OUTPUT_PP;
  GPIO_InitStruct.Pull = GPIO_NOPULL;
  GPIO_InitStruct.Speed = GPIO_SPEED_FREQ_LOW;
  HAL_GPIO_Init(GPIOD, &GPIO_InitStruct);

  /*Configure GPIO pin : PA12 */
  GPIO_InitStruct.Pin = GPIO_PIN_12;
  GPIO_InitStruct.Mode = GPIO_MODE_OUTPUT_PP;
  GPIO_InitStruct.Pull = GPIO_NOPULL;
  GPIO_InitStruct.Speed = GPIO_SPEED_FREQ_LOW;
  HAL_GPIO_Init(GPIOA, &GPIO_InitStruct);

}

/* USER CODE BEGIN 4 */
void HAL_TIM_PeriodElapsedCallback(TIM_HandleTypeDef *htim)  // 16-bit TIM3 is used as an interrupt - every 10 ms
{
	if(htim==&htim3)
	{
		Timer_15min();

	}

	if(htim==&htim2)  // Configured as an interrupt - every 100 ms
	{

		update_periodic_flags_during_maintenance_bat1();
		update_periodic_flags_during_maintenance_bat2();
		update_periodic_flags_during_maintenance_bat3();

	}
}

void HAL_UART_RxCpltCallback(UART_HandleTypeDef *huart)
{
	/* Prevent unused argument(s) compilation warning */
	// UNUSED(huart);

	commands_from_pi_to_stm();

}
/* USER CODE END 4 */

void Error_Handler(void)
{
	__disable_irq();
	while (1)
	{
	}
}

/************************ (C) COPYRIGHT STMicroelectronics *****END OF FILE****/
